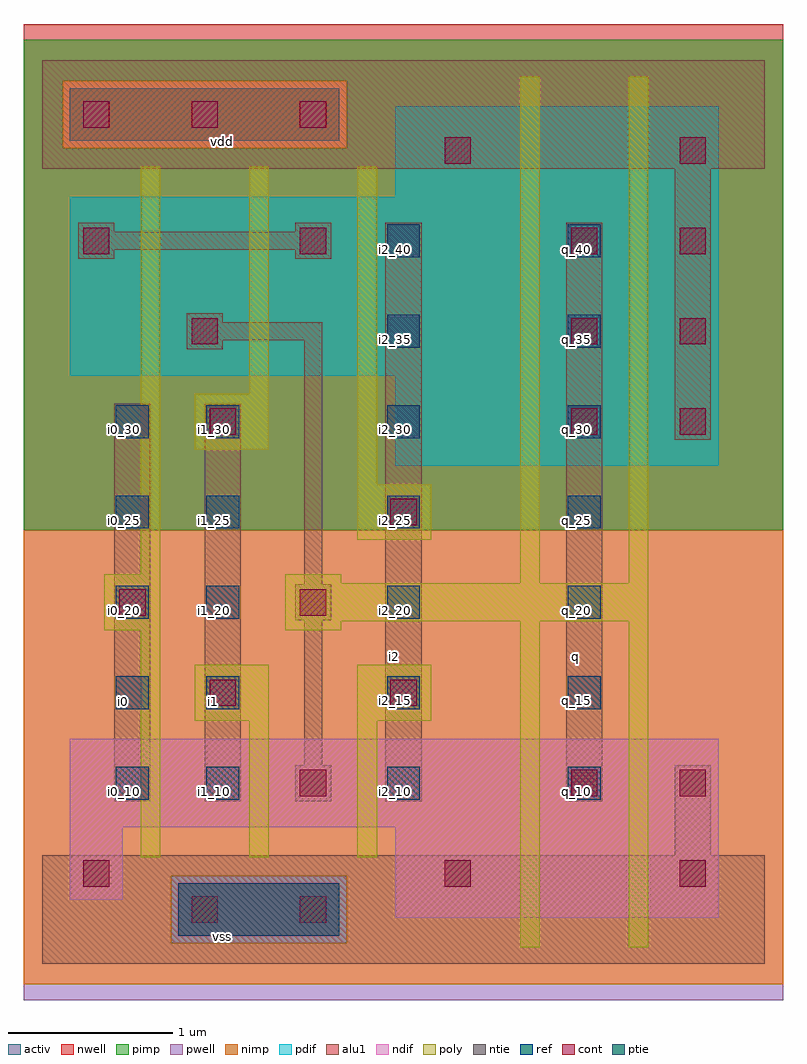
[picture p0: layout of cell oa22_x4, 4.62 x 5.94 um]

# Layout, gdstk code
import gdstk
lib = gdstk.Library(unit=1e-6, precision=2.5e-09)
def R(c, l, rs):  # rectangles x0, y0, x1, y1
    for r in rs: c.add(gdstk.rectangle(r[:2], r[2:], *l))
def A(c, l, x, y, w, h, nx, ny, dx, dy):  # array of equal rectangles
    R(c, l, [(x+i*dx, y+j*dy, x+i*dx+w, y+j*dy+h) for i in range(nx) for j in range(ny)])
ndif = (3, 0)
pdif = (4, 0)
ntie = (5, 0)
ptie = (6, 0)
ref = (24, 0)
cont = (25, 0)
pwell = (41, 0)
nwell = (42, 0)
activ = (43, 0)
pimp = (44, 0)
nimp = (45, 0)
poly = (46, 0)
alu1 = (49, 0)

oa22_x4 = lib.new_cell('oa22_x4')
R(oa22_x4, ndif, [(2.15,0.28,4.12,0.83), (2.15,0.28,4.12,0.83), (0.17,0.39,0.49,0.83), (0.17,0.39,0.49,0.83), (0.17,0.83,4.12,1.37), (0.17,0.83,4.12,1.37)])
R(oa22_x4, pdif, [(2.15,3.03,4.12,3.58), (2.15,3.03,4.12,3.58), (0.17,3.58,4.12,4.67), (0.17,3.58,4.12,4.67), (2.15,4.67,4.12,5.22), (2.15,4.67,4.12,5.22)])
R(oa22_x4, ntie, [(0.17,5.01,1.81,5.33), (0.17,5.01,1.81,5.33)])
R(oa22_x4, ptie, [(0.83,0.17,1.81,0.49), (0.83,0.17,1.81,0.49)])
A(oa22_x4, ref, 0.45, 1, 0.2, 0.2, 1, 5, 0, 0.55)
A(oa22_x4, ref, 1, 1, 0.2, 0.2, 3, 5, 1.1, 0.55)
R(oa22_x4, ref, [(2.1,3.75,2.3,3.95), (3.2,3.75,3.4,3.95), (2.1,4.3,2.3,4.5), (3.2,4.3,3.4,4.5)])
A(oa22_x4, cont, 3.22, 3.22, 0.16, 0.16, 1, 3, 0, 0.55)
A(oa22_x4, cont, 3.88, 3.22, 0.16, 0.16, 1, 4, 0, 0.55)
A(oa22_x4, cont, 0.25, 5.09, 0.16, 0.16, 3, 1, 0.66, 0)
R(oa22_x4, cont, [(0.91,0.25,1.07,0.41), (1.57,0.25,1.73,0.41), (0.25,0.47,0.41,0.63), (2.45,0.47,2.61,0.63), (3.88,0.47,4.04,0.63), (1.57,1.02,1.73,1.18), (3.22,1.02,3.38,1.18), (3.88,1.02,4.04,1.18), (1.02,1.57,1.18,1.73), (2.12,1.57,2.28,1.73), (0.47,2.12,0.63,2.28), (1.57,2.12,1.73,2.28), (2.12,2.67,2.28,2.83), (1.02,3.22,1.18,3.38), (0.91,3.77,1.07,3.93), (0.25,4.32,0.41,4.48), (1.57,4.32,1.73,4.48), (2.45,4.87,2.61,5.03)])
R(oa22_x4, pwell, [(-0.11,-0.22,4.51,2.64)])
R(oa22_x4, nwell, [(-0.11,2.64,4.51,5.72)])
R(oa22_x4, activ, [(0.83,0.17,1.81,0.49), (0.83,0.17,1.81,0.49), (2.15,0.28,4.12,0.83), (2.15,0.28,4.12,0.83), (0.17,0.39,0.49,0.83), (0.17,0.39,0.49,0.83), (0.17,0.83,4.12,1.37), (0.17,0.83,4.12,1.37), (2.15,3.03,4.12,3.58), (2.15,3.03,4.12,3.58), (0.17,3.58,4.12,4.67), (0.17,3.58,4.12,4.67), (2.15,4.67,4.12,5.22), (2.15,4.67,4.12,5.22), (0.17,5.01,1.81,5.33), (0.17,5.01,1.81,5.33)])
R(oa22_x4, pimp, [(0.785,0.125,1.855,0.535), (-0.11,2.64,4.51,4.965), (-0.11,4.965,0.125,5.375), (1.855,4.965,4.51,5.375), (-0.11,5.375,4.51,5.625)])
R(oa22_x4, nimp, [(-0.11,-0.125,4.51,0.125), (-0.11,0.125,0.785,0.535), (1.855,0.125,4.51,0.535), (-0.11,0.535,4.51,2.64), (0.125,4.965,1.855,5.375)])
R(oa22_x4, poly, [(2.91,0.1,3.03,2.085), (3.57,0.1,3.69,2.085), (0.6,0.65,0.72,2.03), (1.26,0.65,1.38,1.48), (1.92,0.65,2.04,1.48), (0.93,1.48,1.38,1.82), (1.92,1.48,2.37,1.82), (0.38,2.03,0.72,2.37), (1.48,2.03,1.82,2.085), (1.48,2.085,3.69,2.315), (1.48,2.315,1.82,2.37), (2.91,2.315,3.03,5.4), (3.57,2.315,3.69,5.4), (0.6,2.37,0.72,4.85), (1.92,2.58,2.37,2.92), (1.92,2.92,2.04,4.85), (0.93,3.13,1.38,3.47), (1.26,3.47,1.38,4.85)])
R(oa22_x4, alu1, [(0,0,4.4,0.66), (3.85,0.66,4.07,1.21), (0.44,0.99,0.66,3.41), (0.99,0.99,1.21,3.41), (1.54,0.99,1.76,1.21), (2.09,0.99,2.31,4.51), (3.19,0.99,3.41,4.51), (1.595,1.21,1.705,2.09), (1.54,2.09,1.76,2.31), (1.595,2.31,1.705,3.795), (3.85,3.19,4.07,4.84), (0.88,3.74,1.1,3.795), (0.88,3.795,1.705,3.905), (0.88,3.905,1.1,3.96), (0.22,4.29,0.44,4.345), (1.54,4.29,1.76,4.345), (0.22,4.345,1.76,4.455), (0.22,4.455,0.44,4.51), (1.54,4.455,1.76,4.51), (0,4.84,4.4,5.5)])
oa22_x4.add(gdstk.Label('vss', (1.1,0.165), layer=49, texttype=0))
oa22_x4.add(gdstk.Label('q', (3.245,1.87), layer=49, texttype=0))
oa22_x4.add(gdstk.Label('i2', (2.145,1.87), layer=49, texttype=0))
oa22_x4.add(gdstk.Label('i1', (1.045,1.595), layer=49, texttype=0))
oa22_x4.add(gdstk.Label('i0', (0.495,1.595), layer=49, texttype=0))
oa22_x4.add(gdstk.Label('vdd', (1.1,5.005), layer=49, texttype=0))
oa22_x4.add(gdstk.Label('q_10', (3.25,1.05), layer=24, texttype=0))
oa22_x4.add(gdstk.Label('q_15', (3.25,1.6), layer=24, texttype=0))
oa22_x4.add(gdstk.Label('q_20', (3.25,2.15), layer=24, texttype=0))
oa22_x4.add(gdstk.Label('q_25', (3.25,2.7), layer=24, texttype=0))
oa22_x4.add(gdstk.Label('q_30', (3.25,3.25), layer=24, texttype=0))
oa22_x4.add(gdstk.Label('q_35', (3.25,3.8), layer=24, texttype=0))
oa22_x4.add(gdstk.Label('q_40', (3.25,4.35), layer=24, texttype=0))
oa22_x4.add(gdstk.Label('i2_10', (2.15,1.05), layer=24, texttype=0))
oa22_x4.add(gdstk.Label('i2_15', (2.15,1.6), layer=24, texttype=0))
oa22_x4.add(gdstk.Label('i2_20', (2.15,2.15), layer=24, texttype=0))
oa22_x4.add(gdstk.Label('i2_25', (2.15,2.7), layer=24, texttype=0))
oa22_x4.add(gdstk.Label('i2_30', (2.15,3.25), layer=24, texttype=0))
oa22_x4.add(gdstk.Label('i2_35', (2.15,3.8), layer=24, texttype=0))
oa22_x4.add(gdstk.Label('i2_40', (2.15,4.35), layer=24, texttype=0))
oa22_x4.add(gdstk.Label('i1_10', (1.05,1.05), layer=24, texttype=0))
oa22_x4.add(gdstk.Label('i1_15', (1.05,1.6), layer=24, texttype=0))
oa22_x4.add(gdstk.Label('i1_20', (1.05,2.15), layer=24, texttype=0))
oa22_x4.add(gdstk.Label('i1_25', (1.05,2.7), layer=24, texttype=0))
oa22_x4.add(gdstk.Label('i1_30', (1.05,3.25), layer=24, texttype=0))
oa22_x4.add(gdstk.Label('i0_30', (0.5,3.25), layer=24, texttype=0))
oa22_x4.add(gdstk.Label('i0_25', (0.5,2.7), layer=24, texttype=0))
oa22_x4.add(gdstk.Label('i0_20', (0.5,2.15), layer=24, texttype=0))
oa22_x4.add(gdstk.Label('i0_15', (0.5,1.6), layer=24, texttype=0))
oa22_x4.add(gdstk.Label('i0_10', (0.5,1.05), layer=24, texttype=0))

lib.write_gds('oa22_x4.gds')
